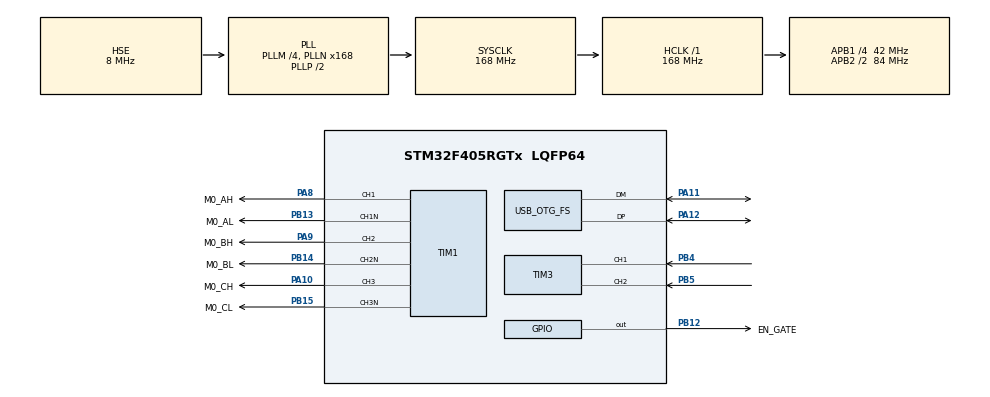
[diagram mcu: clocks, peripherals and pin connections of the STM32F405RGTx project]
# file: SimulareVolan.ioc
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Mcu.Family=STM32F4
Mcu.Name=STM32F405RGTx
Mcu.Package=LQFP64
Mcu.UserConstants=TIM_1_8_PERIOD_CLOCKS,3500;TIM_APB1_CLOCK_HZ,84000000;TIM_APB1_DEADTIME_CLOCKS,40;TIM_APB1_PERIOD_CLOCKS,4096;TIM_1_8_RCR,2;TIM_1_8_DEADTIME_CLOCKS,20;TIM_1_8_CLOCK_HZ,168000000
NVIC.OTG_FS_IRQn=true\:0\:0\:false\:false\:true\:false\:true\:true
NVIC.PriorityGroup=NVIC_PRIORITYGROUP_4
NVIC.TIM1_UP_TIM10_IRQn=true\:0\:0\:false\:false\:true\:true\:true\:true
NVIC.TIM3_IRQn=true\:0\:0\:false\:false\:true\:true\:true\:true
NVIC.TIM8_TRG_COM_TIM14_IRQn=true\:15\:0\:false\:false\:true\:false\:true\:true
NVIC.TimeBase=TIM8_TRG_COM_TIM14_IRQn
NVIC.TimeBaseIP=TIM14
PA10.GPIO_Label=M0_CH
PA10.Signal=S_TIM1_CH3
PA11.Mode=Device_Only
PA11.Signal=USB_OTG_FS_DM
PA12.Mode=Device_Only
PA12.Signal=USB_OTG_FS_DP
PA13.Mode=Serial_Wire
PA13.Signal=SYS_JTMS-SWDIO
PA14.Mode=Serial_Wire
PA14.Signal=SYS_JTCK-SWCLK
PA8.GPIO_Label=M0_AH
PA8.Signal=S_TIM1_CH1
PA9.GPIO_Label=M0_BH
PA9.Signal=S_TIM1_CH2
PB12.GPIO_Label=EN_GATE
PB12.Signal=GPIO_Output
PB13.GPIO_Label=M0_AL
PB13.Mode=PWM Generation1 CH1 CH1N
PB13.Signal=TIM1_CH1N
PB14.GPIO_Label=M0_BL
PB14.Mode=PWM Generation2 CH2 CH2N
PB14.Signal=TIM1_CH2N
PB15.GPIO_Label=M0_CL
PB15.Mode=PWM Generation3 CH3 CH3N
PB15.Signal=TIM1_CH3N
PB4.Signal=S_TIM3_CH1
PB5.Signal=S_TIM3_CH2
PH0-OSC_IN.Mode=HSE-External-Oscillator
PH0-OSC_IN.Signal=RCC_OSC_IN
PH1-OSC_OUT.Mode=HSE-External-Oscillator
PH1-OSC_OUT.Signal=RCC_OSC_OUT
ProjectManager.HeapSize=0x200
ProjectManager.StackSize=0x400
ProjectManager.TargetToolchain=STM32CubeIDE
RCC.48MHZClocksFreq_Value=48000000
RCC.AHBFreq_Value=168000000
RCC.APB1CLKDivider=RCC_HCLK_DIV4
RCC.APB1Freq_Value=42000000
RCC.APB1TimFreq_Value=84000000
RCC.APB2CLKDivider=RCC_HCLK_DIV2
RCC.APB2Freq_Value=84000000
RCC.APB2TimFreq_Value=168000000
RCC.CortexFreq_Value=168000000
RCC.HCLKFreq_Value=168000000
RCC.HSE_VALUE=8000000
RCC.HSI_VALUE=16000000
RCC.LSE_VALUE=32768
RCC.PLLM=4
RCC.PLLN=168
RCC.PLLQ=7
RCC.SYSCLKFreq_VALUE=168000000
RCC.SYSCLKSource=RCC_SYSCLKSOURCE_PLLCLK
RCC.VCOOutputFreq_Value=336000000
SH.S_TIM1_CH1.0=TIM1_CH1,PWM Generation1 CH1 CH1N
SH.S_TIM1_CH2.0=TIM1_CH2,PWM Generation2 CH2 CH2N
SH.S_TIM1_CH3.0=TIM1_CH3,PWM Generation3 CH3 CH3N
SH.S_TIM3_CH1.0=TIM3_CH1,Encoder_Interface
SH.S_TIM3_CH2.0=TIM3_CH2,Encoder_Interface
TIM1.Channel-Output\ Compare4\ No\ Output=TIM_CHANNEL_4
TIM1.Channel-PWM\ Generation1\ CH1\ CH1N=TIM_CHANNEL_1
TIM1.Channel-PWM\ Generation2\ CH2\ CH2N=TIM_CHANNEL_2
TIM1.Channel-PWM\ Generation3\ CH3\ CH3N=TIM_CHANNEL_3
TIM1.CounterMode=TIM_COUNTERMODE_CENTERALIGNED3
TIM1.DeadTime=TIM_1_8_DEADTIME_CLOCKS
TIM1.OCMode_PWM-PWM\ Generation1\ CH1\ CH1N=TIM_OCMODE_PWM2
TIM1.OCMode_PWM-PWM\ Generation2\ CH2\ CH2N=TIM_OCMODE_PWM2
TIM1.OCMode_PWM-PWM\ Generation3\ CH3\ CH3N=TIM_OCMODE_PWM2
TIM1.OffStateIDLEMode=TIM_OSSI_ENABLE
TIM1.OffStateRunMode=TIM_OSSR_ENABLE
TIM1.Period=TIM_1_8_PERIOD_CLOCKS
TIM1.RepetitionCounter=TIM_1_8_RCR
TIM1.TIM_MasterOutputTrigger=TIM_TRGO_UPDATE
TIM3.EncoderMode=TIM_ENCODERMODE_TI12
TIM3.IC1Polarity=TIM_ICPOLARITY_FALLING
TIM3.IC2Polarity=TIM_ICPOLARITY_FALLING
USB_DEVICE.CLASS_NAME_FS=CUSTOM_HID
USB_DEVICE.CUSTOM_HID_FS_BINTERVAL=0xA
USB_DEVICE.USBD_CUSTOMHID_OUTREPORT_BUF_SIZE-CUSTOM_HID_FS=64
USB_DEVICE.USBD_CUSTOM_HID_REPORT_DESC_SIZE-CUSTOM_HID_FS=1085
USB_DEVICE.USBD_SELF_POWERED-CUSTOM_HID_FS=0
USB_DEVICE.VirtualMode-CUSTOM_HID_FS=CustomHid
USB_DEVICE.VirtualModeFS=Custom_Hid_FS
USB_OTG_FS.VirtualMode=Device_Only
VP_SYS_VS_tim14.Mode=TIM14
VP_TIM1_VS_ClockSourceINT.Mode=Internal
VP_TIM1_VS_no_output4.Mode=Output Compare4 No Output
VP_USB_DEVICE_VS_USB_DEVICE_CUSTOM_HID_FS.Mode=CUSTOM_HID_FS
board=custom

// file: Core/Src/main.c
/* USER CODE BEGIN Header */
/**
  ******************************************************************************
  * @file           : main.c
  * @brief          : Main program body
  ******************************************************************************
  * @attention
  *
  * Copyright (c) 2025 STMicroelectronics.
  * All rights reserved.
  *
  * This software is licensed under terms that can be found in the LICENSE file
  * in the root directory of this software component.
  * If no LICENSE file comes with this software, it is provided AS-IS.
  *
  ******************************************************************************
  */
/* USER CODE END Header */
#include "main.h"
#include "usb_device.h"
#include <math.h>

/* USER CODE BEGIN PTD */
typedef struct __attribute__((__packed__)){
	uint8_t id;
	uint64_t buttons;
	int16_t X;
	int16_t Y;
	int16_t Z;
	int16_t RX;
	int16_t RY;
	int16_t RZ;
	int16_t Dial;
	int16_t Slider;
}wheelReport;
/* USER CODE END PTD */

TIM_HandleTypeDef htim1;
TIM_HandleTypeDef htim3;

/* USER CODE BEGIN PV */
TIM_HandleTypeDef htim3;

wheelReport reportContainer;

extern USBD_HandleTypeDef hUsbDeviceFS;

static int16_t encoder;
/* USER CODE END PV */

void SystemClock_Config(void);
static void MX_GPIO_Init(void);
static void MX_TIM3_Init(void);
static void MX_TIM1_Init(void);

/* USER CODE BEGIN 0 */

void HAL_TIM_IC_CaptureCallback(TIM_HandleTypeDef *htim)
{
	encoder = __HAL_TIM_GET_COUNTER(htim);
}
/* USER CODE END 0 */

int main(void)
{

  /* MCU Configuration--------------------------------------------------------*/

  /* Reset of all peripherals, Initializes the Flash interface and the Systick. */
  HAL_Init();

  /* Configure the system clock */
  SystemClock_Config();

  /* Initialize all configured peripherals */
  MX_GPIO_Init();
  MX_TIM3_Init();
  MX_USB_DEVICE_Init();
  MX_TIM1_Init();
  /* USER CODE BEGIN 2 */
  HAL_TIM_Encoder_Start_IT(&htim3, TIM_CHANNEL_ALL);
	reportContainer.id = 0x01;
	reportContainer.buttons = 0x55555555;
	reportContainer.X = 0;
	reportContainer.Y = 0;
	reportContainer.Z = 0;
	reportContainer.RX = 0;
	reportContainer.RY = 0;
	reportContainer.RZ = 0;
	reportContainer.Dial = 0;
	reportContainer.Slider = 0;

  HAL_TIM_PWM_Start(&htim1, TIM_CHANNEL_1);
  HAL_TIM_PWM_Start(&htim1, TIM_CHANNEL_2);
  HAL_TIM_PWM_Start(&htim1, TIM_CHANNEL_3);
  HAL_TIMEx_PWMN_Start(&htim1, TIM_CHANNEL_1);
  HAL_TIMEx_PWMN_Start(&htim1, TIM_CHANNEL_2);
  HAL_TIMEx_PWMN_Start(&htim1, TIM_CHANNEL_3);
  __HAL_TIM_SET_COMPARE(&htim1, TIM_CHANNEL_1, 0*htim1.Init.Period);
  __HAL_TIM_SET_COMPARE(&htim1, TIM_CHANNEL_2, 0*htim1.Init.Period);
  __HAL_TIM_SET_COMPARE(&htim1, TIM_CHANNEL_3, 0*htim1.Init.Period);

  HAL_GPIO_WritePin(EN_GATE_GPIO_Port, EN_GATE_Pin, GPIO_PIN_SET);

  /* USER CODE END 2 */

  /* Infinite loop */
  /* USER CODE BEGIN WHILE */
  float ph = 0;
  float mag = 0.1;
  mag = fabs(mag)<0.3f?fabs(mag): 0.3f;
  while (1)
  {
	reportContainer.X = encoder;
//	reportContainer.Y = encoder;
//	reportContainer.Z = encoder;
//	reportContainer.RX = encoder;
//	reportContainer.RY = encoder;
//	reportContainer.RZ = encoder;
//	reportContainer.Dial = encoder;
//	reportContainer.Slider = encoder;
	USBD_CUSTOM_HID_SendReport(&hUsbDeviceFS, (uint8_t *)&reportContainer, 25);
	HAL_Delay(10);
	//float tst = mag*sinf(ph);

	__HAL_TIM_SET_COMPARE(&htim1, TIM_CHANNEL_1, (uint32_t)((0.5f+mag*sinf(ph))*htim1.Init.Period));
    __HAL_TIM_SET_COMPARE(&htim1, TIM_CHANNEL_2, (uint32_t)((0.5f+mag*sinf(ph+3.1415926f*2/3))*htim1.Init.Period));
	__HAL_TIM_SET_COMPARE(&htim1, TIM_CHANNEL_3, (uint32_t)((0.5f+mag*sinf(ph-3.1415926f*2/3))*htim1.Init.Period));
	ph += 3.1415926e-2f;
    /* USER CODE END WHILE */

  }
}

void SystemClock_Config(void)
{
  RCC_OscInitTypeDef RCC_OscInitStruct = {0};
  RCC_ClkInitTypeDef RCC_ClkInitStruct = {0};

  /** Configure the main internal regulator output voltage
  */
  __HAL_RCC_PWR_CLK_ENABLE();
  __HAL_PWR_VOLTAGESCALING_CONFIG(PWR_REGULATOR_VOLTAGE_SCALE1);

  /** Initializes the RCC Oscillators according to the specified parameters
  * in the RCC_OscInitTypeDef structure.
  */
  RCC_OscInitStruct.OscillatorType = RCC_OSCILLATORTYPE_HSE;
  RCC_OscInitStruct.HSEState = RCC_HSE_ON;
  RCC_OscInitStruct.PLL.PLLState = RCC_PLL_ON;
  RCC_OscInitStruct.PLL.PLLSource = RCC_PLLSOURCE_HSE;
  RCC_OscInitStruct.PLL.PLLM = 4;
  RCC_OscInitStruct.PLL.PLLN = 168;
  RCC_OscInitStruct.PLL.PLLP = RCC_PLLP_DIV2;
  RCC_OscInitStruct.PLL.PLLQ = 7;
  if (HAL_RCC_OscConfig(&RCC_OscInitStruct) != HAL_OK)
  {
    Error_Handler();
  }

  /** Initializes the CPU, AHB and APB buses clocks
  */
  RCC_ClkInitStruct.ClockType = RCC_CLOCKTYPE_HCLK|RCC_CLOCKTYPE_SYSCLK
                              |RCC_CLOCKTYPE_PCLK1|RCC_CLOCKTYPE_PCLK2;
  RCC_ClkInitStruct.SYSCLKSource = RCC_SYSCLKSOURCE_PLLCLK;
  RCC_ClkInitStruct.AHBCLKDivider = RCC_SYSCLK_DIV1;
  RCC_ClkInitStruct.APB1CLKDivider = RCC_HCLK_DIV4;
  RCC_ClkInitStruct.APB2CLKDivider = RCC_HCLK_DIV2;

  if (HAL_RCC_ClockConfig(&RCC_ClkInitStruct, FLASH_LATENCY_5) != HAL_OK)
  {
    Error_Handler();
  }
}

	static void MX_TIM1_Init(void)
	{

	  TIM_ClockConfigTypeDef sClockSourceConfig = {0};
	  TIM_MasterConfigTypeDef sMasterConfig = {0};
	  TIM_OC_InitTypeDef sConfigOC = {0};
	  TIM_BreakDeadTimeConfigTypeDef sBreakDeadTimeConfig = {0};

	  htim1.Instance = TIM1;
	  htim1.Init.Prescaler = 0;
	  htim1.Init.CounterMode = TIM_COUNTERMODE_CENTERALIGNED3;
	  htim1.Init.Period = TIM_1_8_PERIOD_CLOCKS;
	  htim1.Init.ClockDivision = TIM_CLOCKDIVISION_DIV1;
	  htim1.Init.RepetitionCounter = TIM_1_8_RCR;
	  htim1.Init.AutoReloadPreload = TIM_AUTORELOAD_PRELOAD_DISABLE;
	  if (HAL_TIM_Base_Init(&htim1) != HAL_OK)
	  {
		Error_Handler();
	  }
	  sClockSourceConfig.ClockSource = TIM_CLOCKSOURCE_INTERNAL;
	  if (HAL_TIM_ConfigClockSource(&htim1, &sClockSourceConfig) != HAL_OK)
	  {
		Error_Handler();
	  }
	  if (HAL_TIM_PWM_Init(&htim1) != HAL_OK)
	  {
		Error_Handler();
	  }
	  if (HAL_TIM_OC_Init(&htim1) != HAL_OK)
	  {
		Error_Handler();
	  }
	  sMasterConfig.MasterOutputTrigger = TIM_TRGO_UPDATE;
	  sMasterConfig.MasterSlaveMode = TIM_MASTERSLAVEMODE_DISABLE;
	  if (HAL_TIMEx_MasterConfigSynchronization(&htim1, &sMasterConfig) != HAL_OK)
	  {
		Error_Handler();
	  }
	  sConfigOC.OCMode = TIM_OCMODE_PWM2;
	  sConfigOC.Pulse = 0;
	  sConfigOC.OCPolarity = TIM_OCPOLARITY_HIGH;
	  sConfigOC.OCNPolarity = TIM_OCNPOLARITY_HIGH;
	  sConfigOC.OCFastMode = TIM_OCFAST_DISABLE;
	  sConfigOC.OCIdleState = TIM_OCIDLESTATE_RESET;
	  sConfigOC.OCNIdleState = TIM_OCNIDLESTATE_RESET;
	  if (HAL_TIM_PWM_ConfigChannel(&htim1, &sConfigOC, TIM_CHANNEL_1) != HAL_OK)
	  {
		Error_Handler();
	  }
	  if (HAL_TIM_PWM_ConfigChannel(&htim1, &sConfigOC, TIM_CHANNEL_2) != HAL_OK)
	  {
		Error_Handler();
	  }
	  if (HAL_TIM_PWM_ConfigChannel(&htim1, &sConfigOC, TIM_CHANNEL_3) != HAL_OK)
	  {
		Error_Handler();
	  }
	  sConfigOC.OCMode = TIM_OCMODE_TIMING;
	  if (HAL_TIM_OC_ConfigChannel(&htim1, &sConfigOC, TIM_CHANNEL_4) != HAL_OK)
	  {
		Error_Handler();
	  }
	  sBreakDeadTimeConfig.OffStateRunMode = TIM_OSSR_ENABLE;
	  sBreakDeadTimeConfig.OffStateIDLEMode = TIM_OSSI_ENABLE;
	  sBreakDeadTimeConfig.LockLevel = TIM_LOCKLEVEL_OFF;
	  sBreakDeadTimeConfig.DeadTime = TIM_1_8_DEADTIME_CLOCKS;
	  sBreakDeadTimeConfig.BreakState = TIM_BREAK_DISABLE;
	  sBreakDeadTimeConfig.BreakPolarity = TIM_BREAKPOLARITY_HIGH;
	  sBreakDeadTimeConfig.AutomaticOutput = TIM_AUTOMATICOUTPUT_DISABLE;
	  if (HAL_TIMEx_ConfigBreakDeadTime(&htim1, &sBreakDeadTimeConfig) != HAL_OK)
	  {
		Error_Handler();
	  }
	  HAL_TIM_MspPostInit(&htim1);

	}

static void MX_TIM3_Init(void)
{

  TIM_Encoder_InitTypeDef sConfig = {0};
  TIM_MasterConfigTypeDef sMasterConfig = {0};

  htim3.Instance = TIM3;
  htim3.Init.Prescaler = 0;
  htim3.Init.CounterMode = TIM_COUNTERMODE_UP;
  htim3.Init.Period = 65535;
  htim3.Init.ClockDivision = TIM_CLOCKDIVISION_DIV1;
  htim3.Init.AutoReloadPreload = TIM_AUTORELOAD_PRELOAD_DISABLE;
  sConfig.EncoderMode = TIM_ENCODERMODE_TI12;
  sConfig.IC1Polarity = TIM_ICPOLARITY_FALLING;
  sConfig.IC1Selection = TIM_ICSELECTION_DIRECTTI;
  sConfig.IC1Prescaler = TIM_ICPSC_DIV1;
  sConfig.IC1Filter = 0;
  sConfig.IC2Polarity = TIM_ICPOLARITY_FALLING;
  sConfig.IC2Selection = TIM_ICSELECTION_DIRECTTI;
  sConfig.IC2Prescaler = TIM_ICPSC_DIV1;
  sConfig.IC2Filter = 0;
  if (HAL_TIM_Encoder_Init(&htim3, &sConfig) != HAL_OK)
  {
    Error_Handler();
  }
  sMasterConfig.MasterOutputTrigger = TIM_TRGO_RESET;
  sMasterConfig.MasterSlaveMode = TIM_MASTERSLAVEMODE_DISABLE;
  if (HAL_TIMEx_MasterConfigSynchronization(&htim3, &sMasterConfig) != HAL_OK)
  {
    Error_Handler();
  }

}

static void MX_GPIO_Init(void)
{
  GPIO_InitTypeDef GPIO_InitStruct = {0};

  /* GPIO Ports Clock Enable */
  __HAL_RCC_GPIOH_CLK_ENABLE();
  __HAL_RCC_GPIOB_CLK_ENABLE();
  __HAL_RCC_GPIOA_CLK_ENABLE();

  /*Configure GPIO pin Output Level */
  HAL_GPIO_WritePin(EN_GATE_GPIO_Port, EN_GATE_Pin, GPIO_PIN_RESET);

  /*Configure GPIO pin : EN_GATE_Pin */
  GPIO_InitStruct.Pin = EN_GATE_Pin;
  GPIO_InitStruct.Mode = GPIO_MODE_OUTPUT_PP;
  GPIO_InitStruct.Pull = GPIO_NOPULL;
  GPIO_InitStruct.Speed = GPIO_SPEED_FREQ_LOW;
  HAL_GPIO_Init(EN_GATE_GPIO_Port, &GPIO_InitStruct);

}

void HAL_TIM_PeriodElapsedCallback(TIM_HandleTypeDef *htim)
{
  if (htim->Instance == TIM14)
  {
    HAL_IncTick();
  }
}

void Error_Handler(void)
{
  __disable_irq();
  while (1)
  {
  }
}
